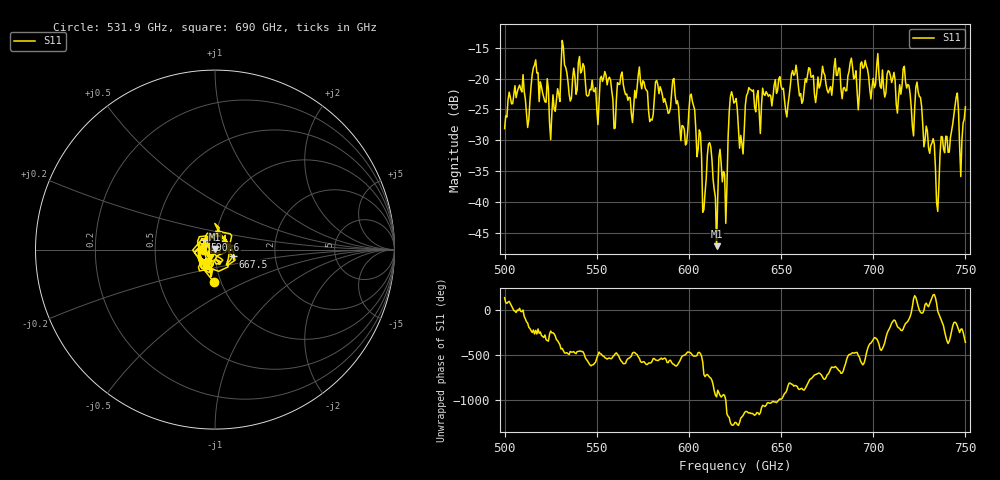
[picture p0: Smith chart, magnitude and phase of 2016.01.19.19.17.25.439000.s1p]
!Created with skrf (http://scikit-rf.org).
# GHz S RI R 50.0
!freq ReS11 ImS11
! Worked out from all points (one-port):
!   401 points, 500 GHz to 750 GHz, reference 50 ohm
!   lowest |S11| = -47.2 dB at 615 GHz (marker M1), VSWR 1.01, Z = 49.9 + j0.411 ohm
!   |S11| at or under -10 dB: start of sweep to end of sweep
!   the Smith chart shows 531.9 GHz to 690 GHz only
!   S11 on the Smith chart (normalised r, x): 531.9 GHz: 0.92, -0.34; 590.6 GHz: 0.89, +0.10; 667.5 GHz: 1.22, -0.09; 690 GHz: 0.89, -0.16
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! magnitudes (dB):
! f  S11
! 500 GHz  -28.1
! 516.9 GHz  -17.0
! 525.6 GHz  -25.6
! 531.2 GHz  -13.8
! 531.9 GHz  -14.9
! 550 GHz  -24.8
! 562.5 GHz  -20.9
! 590.6 GHz  -22.2
! 593.8 GHz  -23.6
! 598.1 GHz  -30.8
! 601.9 GHz  -23.7
! 608.1 GHz  -41.2
! 611.2 GHz  -30.4
! 615 GHz  -47.2
! 619.4 GHz  -35.5
! 622.5 GHz  -23.0
! 625 GHz  -23.8
! 628.8 GHz  -30.5
! 632.5 GHz  -21.5
! 656.2 GHz  -18.7
! 667.5 GHz  -19.5
! 687.5 GHz  -17.4
! 690 GHz  -19.8
! 718.8 GHz  -21.0
! 735 GHz  -41.5
! 744.4 GHz  -24.4
! 748.1 GHz  -30.0
! 750 GHz  -24.6
